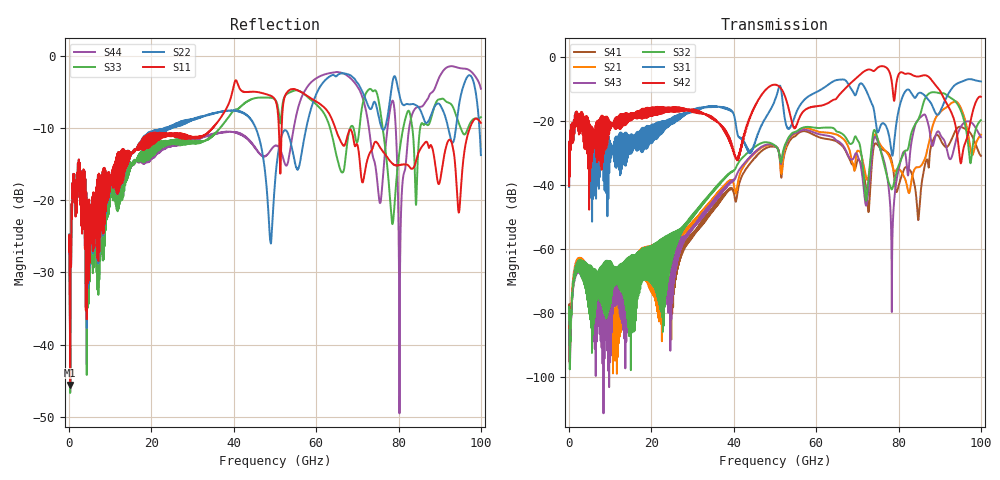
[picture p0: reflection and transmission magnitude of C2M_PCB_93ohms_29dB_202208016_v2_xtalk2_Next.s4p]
! Info: Touchstone file created by Circ.  Input file=Intel_C2M_200G_13p0in_202208016_staggered.circ
# Hz S RI R 50
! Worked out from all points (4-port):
!   10000 points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, 10 MHz to 100 GHz, reference 50 ohm
!   strongest paths, dB at 10 MHz, 25.01 GHz, 50.01 GHz, 75.01 GHz, 100 GHz:
!     S42: -40.4, -16.8, -8.7, -3.4, -12.5
!     S31: -40.7, -20.6, -13.6, -23.6, -7.7
!     S32: -78.2, -61.1, -27.8, -26.1, -19.8
!     S43: -86.4, -65.8, -27.9, -26.8, -25.1
!     S21: -79.2, -63.9, -28.0, -26.0, -24.4
!     S41: -95.2, -67.5, -28.2, -27.7, -31.0
!   lowest |S11| = -45.6 dB at 270 MHz (marker M1), VSWR 1.01, Z = 50.3 - j0.445 ohm
!   |S11| at or under -10 dB: start of sweep to 34.83 GHz; 50.94 GHz to 51.62 GHz (685.3 MHz wide, 1.34 % of centre); 64.64 GHz to 97.33 GHz (32.69 GHz wide, 40.4 % of centre)
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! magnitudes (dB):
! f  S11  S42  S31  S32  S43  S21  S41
! 10 MHz  -27.1  -40.4  -40.7  -78.2  -86.4  -79.2  -95.2
! 270 MHz  -45.6  -23.1  -23.1  -87.9  -91.5  -87.4  -86.6
! 56.38 GHz  -5.0  -17.9  -14.6  -22.4  -23.0  -22.5  -23.4
! 74.54 GHz  -11.9  -3.9  -21.3  -23.9  -25.3  -24.7  -27.1
! 78.42 GHz  -14.9  -8.4  -30.7  -41.4  -66.2  -33.8  -33.0
! 85.06 GHz  -13.2  -6.2  -11.3  -18.9  -19.3  -34.5  -47.5
! 100 GHz  -9.3  -12.5  -7.7  -19.8  -25.1  -24.4  -31.0
